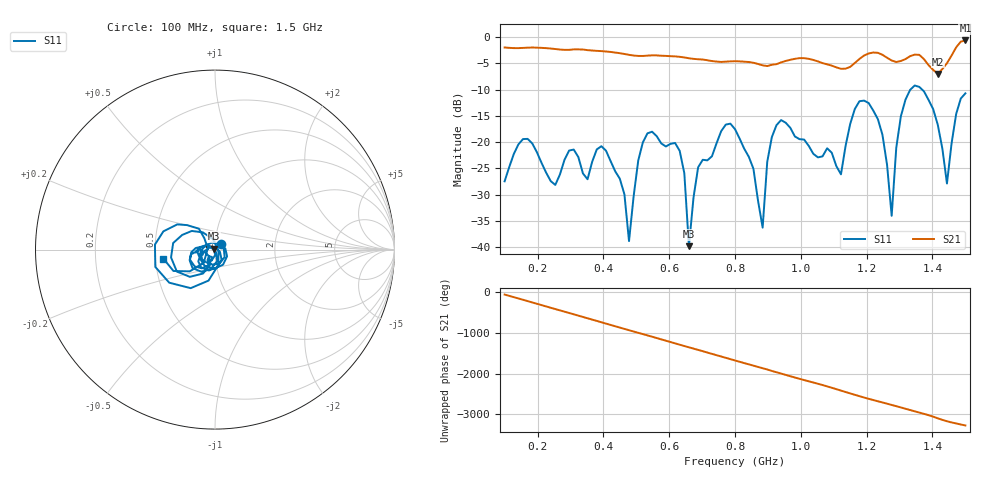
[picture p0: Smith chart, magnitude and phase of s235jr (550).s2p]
! NanoVNA-App
! Date: 2025-09-25 15:08:27
! Start: 100MHz Stop: 1,5GHz Points: 101
! S-Parameter data: F S11 S21 S12 S22
# Hz S RI R 50
!  Frequency  S11_Real  S11_Imag  S21_Real  S21_Imag  S12_Real  S12_Imag  S22_Real  S22_Imag
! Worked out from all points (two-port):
!   101 points, 100 MHz to 1.5 GHz, reference 50 ohm
!   highest |S21| = -0.63 dB at 1.5 GHz (marker M1); lowest = -7.0 dB at 1.416 GHz (marker M2)
!   |S21| within 3 dB of the highest: start of sweep to 603.9 MHz; 1.189 GHz to 1.255 GHz (65.3 MHz wide, 5.34 % of centre) (the widest 2 of 4)
!   lowest |S11| = -39.8 dB at 660 MHz (marker M3), VSWR 1.02, Z = 49.2 + j0.593 ohm
!   |S11| at or under -10 dB: start of sweep to 1.333 GHz; 1.369 GHz to end of sweep
!   S12 and S22 are empty: the file has one direction only
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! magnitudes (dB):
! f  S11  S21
! 100 MHz  -27.5  -2.0
! 156 MHz  -19.4  -2.0
! 338 MHz  -26.0  -2.4
! 408 MHz  -21.6  -2.7
! 478 MHz  -38.9  -3.4
! 520 MHz  -20.1  -3.6
! 576 MHz  -20.2  -3.5
! 632 MHz  -21.7  -3.7
! 660 MHz  -39.8  -4.0
! 688 MHz  -24.8  -4.2
! 800 MHz  -17.5  -4.6
! 884 MHz  -36.3  -5.4
! 926 MHz  -16.8  -5.1
! 1.038 GHz  -22.2  -4.3
! 1.122 GHz  -26.1  -6.0
! 1.206 GHz  -12.5  -3.1
! 1.276 GHz  -34.0  -4.4
! 1.29 GHz  -21.1  -4.7
! 1.332 GHz  -10.0  -3.6
! 1.416 GHz  -16.7  -7.0
! 1.444 GHz  -27.9  -5.0
! 1.5 GHz  -10.7  -0.6
